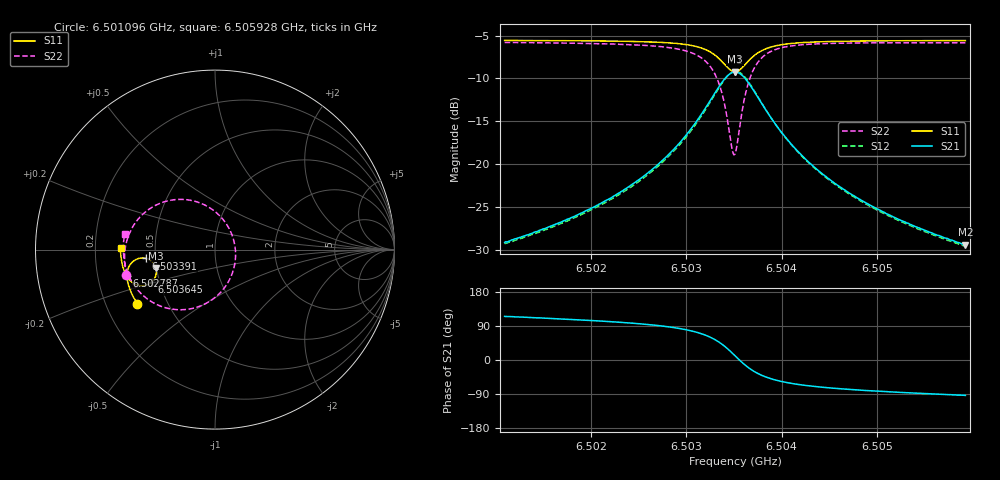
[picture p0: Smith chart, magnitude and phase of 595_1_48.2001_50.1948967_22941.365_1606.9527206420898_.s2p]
#  HZ  S  RI  R  50.00
! Rohde & Schwarz Vector Network Analyzer
! Rohde-Schwarz,ZNB20-2Port,1311601062101988,3.16
! Created: UTC 3/20/2024, 12:02:45 PM
! freq[Hz]  re:S11  im:S11  re:S21  im:S21  re:S12  im:S12  re:S22  im:S22
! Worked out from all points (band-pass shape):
!   401 points, 6.501096 GHz to 6.505928 GHz, reference 50 ohm
!   highest |S21| = -9.25 dB at 6.503512 GHz (marker M1); lowest = -29.4 dB at 6.505928 GHz (marker M2)
!   |S21| within 3 dB of the highest: 6.503271 GHz to 6.503754 GHz (482.6 kHz wide, 0.00742 % of centre)
!   lowest |S11| = -9.2 dB at 6.503512 GHz (marker M3), VSWR 2.06, Z = 24.7 - j5.71 ohm
!   |S11| at or under -10 dB: nowhere
!   |S22| runs from -18.9 to -5.8 dB; largest |S21 - S12| = 0.012
!   S11 on the Smith chart (normalised r, x): 6.501096 GHz: 0.34, -0.28; 6.502787 GHz: 0.33, -0.13; 6.503391 GHz: 0.44, -0.05; 6.503645 GHz: 0.45, -0.19; 6.505928 GHz: 0.31, +0.01
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6.5010964e9  -0.4329 -0.3006  -0.0148 0.0316  -0.0131 0.0316  -0.4931 -0.1426
6.5019056e9  -0.4668 -0.2394  -0.0139 0.05  -0.0114 0.0495  -0.5041 -0.0543
6.5023525e9  -0.4819 -0.1988  -0.0107 0.0702  -0.00765 0.0689  -0.4995 0.0115
6.5027149e9  -0.4899 -0.1573  -0.00109 0.1007  0.00248 0.0982  -0.4782 0.0871
6.5027873e9  -0.4903 -0.1475  0.00295 0.1094  0.00673 0.1068  -0.4695 0.1068
6.5029927e9  -0.4864 -0.1139  0.0248 0.1438  0.0283 0.1395  -0.4241 0.1745
6.5031497e9  -0.4712 -0.0815  0.0648 0.1802  0.0675 0.1744  -0.3463 0.2385
6.5032946e9  -0.4327 -0.0518  0.1478 0.2093  0.1483 0.2032  -0.1954 0.2799
6.5033429e9  -0.411 -0.047  0.1909 0.2079  0.191 0.2025  -0.1196 0.271
6.5033912e9  -0.3853 -0.0491  0.2406 0.1925  0.2406 0.1881  -0.0346 0.2363
6.5034758e9  -0.3415 -0.079  0.3201 0.1168  0.3229 0.1129  0.0927 0.0871
6.503512e9  -0.3304 -0.1016  0.3383 0.0671  0.3421 0.0619  0.1141 -0.00612
6.5035362e9  -0.3273 -0.1181  0.3417 0.0318  0.3461 0.0253  0.1118 -0.0707
6.5035724e9  -0.3295 -0.1428  0.3343 -0.0193  0.3383 -0.028  0.0841 -0.1614
6.5036449e9  -0.3521 -0.1806  0.2869 -0.0971  0.2871 -0.1087  -0.0281 -0.2872
6.5037415e9  -0.3937 -0.2009  0.207 -0.1412  0.2023 -0.1515  -0.1903 -0.3351
6.5038985e9  -0.4439 -0.1934  0.1172 -0.1406  0.1102 -0.1461  -0.3535 -0.2905
6.5040676e9  -0.4734 -0.1722  0.0686 -0.1192  0.0621 -0.1217  -0.4327 -0.2222
6.5043212e9  -0.4961 -0.1409  0.0353 -0.0919  0.0302 -0.0926  -0.4812 -0.1436
6.5047077e9  -0.5125 -0.0996  0.0146 -0.0663  0.0113 -0.066  -0.5048 -0.0634
6.5051305e9  -0.5212 -0.0598  0.0054 -0.0502  0.00297 -0.0494  -0.5108 -0.00184
6.5059276e9  -0.5264 0.00819  -0.002 -0.0338  -0.00337 -0.033  -0.5038 0.0849
